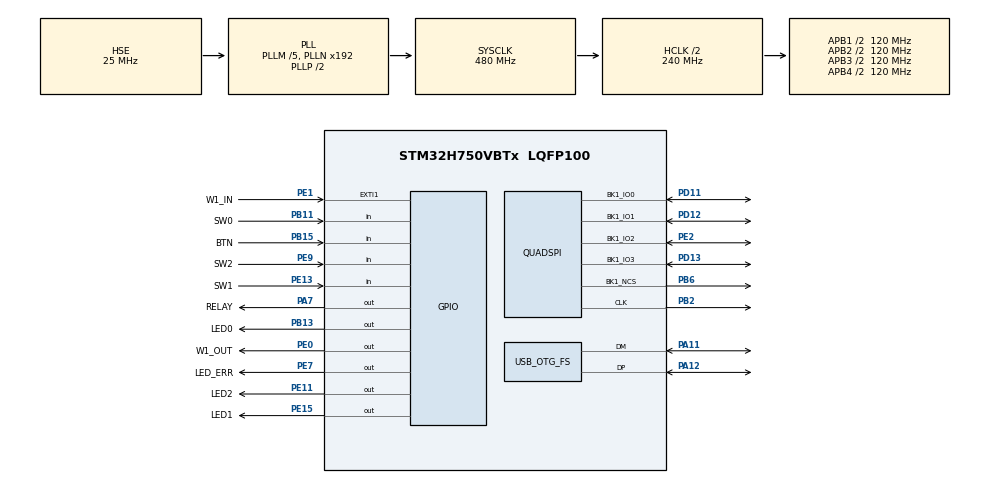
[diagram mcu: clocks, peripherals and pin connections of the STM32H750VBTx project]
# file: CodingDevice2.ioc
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Mcu.Family=STM32H7
Mcu.Name=STM32H750VBTx
Mcu.Package=LQFP100
NVIC.EXTI1_IRQn=true\:0\:0\:false\:false\:true\:true\:true\:true
NVIC.OTG_FS_IRQn=true\:2\:0\:true\:false\:true\:false\:true\:true
NVIC.PriorityGroup=NVIC_PRIORITYGROUP_4
PA11.Mode=Device_Only
PA11.Signal=USB_OTG_FS_DM
PA12.Mode=Device_Only
PA12.Signal=USB_OTG_FS_DP
PA13\ (JTMS/SWDIO).Mode=Serial_Wire
PA13\ (JTMS/SWDIO).Signal=DEBUG_JTMS-SWDIO
PA14\ (JTCK/SWCLK).Mode=Serial_Wire
PA14\ (JTCK/SWCLK).Signal=DEBUG_JTCK-SWCLK
PA7.GPIO_Label=RELAY
PA7.Signal=GPIO_Output
PB11.GPIO_Label=SW0
PB11.GPIO_PuPd=GPIO_PULLUP
PB11.Signal=GPIO_Input
PB13.GPIO_Label=LED0
PB13.Signal=GPIO_Output
PB15.GPIO_Label=BTN
PB15.GPIO_PuPd=GPIO_PULLUP
PB15.Signal=GPIO_Input
PB2.GPIO_Speed=GPIO_SPEED_FREQ_VERY_HIGH
PB2.Mode=Single Bank 1
PB2.Signal=QUADSPI_CLK
PB6.GPIO_Speed=GPIO_SPEED_FREQ_VERY_HIGH
PB6.Mode=Single Bank 1
PB6.Signal=QUADSPI_BK1_NCS
PC14-OSC32_IN\ (OSC32_IN).Mode=LSE-External-Oscillator
PC14-OSC32_IN\ (OSC32_IN).Signal=RCC_OSC32_IN
PC15-OSC32_OUT\ (OSC32_OUT).Mode=LSE-External-Oscillator
PC15-OSC32_OUT\ (OSC32_OUT).Signal=RCC_OSC32_OUT
PD11.GPIO_Speed=GPIO_SPEED_FREQ_VERY_HIGH
PD11.Mode=Single Bank 1
PD11.Signal=QUADSPI_BK1_IO0
PD12.GPIO_Speed=GPIO_SPEED_FREQ_VERY_HIGH
PD12.Mode=Single Bank 1
PD12.Signal=QUADSPI_BK1_IO1
PD13.GPIO_Speed=GPIO_SPEED_FREQ_VERY_HIGH
PD13.Mode=Single Bank 1
PD13.Signal=QUADSPI_BK1_IO3
PE0.GPIO_Label=W1_OUT
PE0.GPIO_ModeDefaultOutputPP=GPIO_MODE_OUTPUT_PP
PE0.GPIO_PuPd=GPIO_NOPULL
PE0.GPIO_Speed=GPIO_SPEED_FREQ_VERY_HIGH
PE0.PinState=GPIO_PIN_RESET
PE0.Signal=GPIO_Output
PE1.GPIO_Label=W1_IN
PE1.GPIO_ModeDefaultEXTI=GPIO_MODE_IT_RISING_FALLING
PE1.GPIO_PuPd=GPIO_PULLUP
PE1.Signal=GPXTI1
PE11.GPIO_Label=LED2
PE11.Signal=GPIO_Output
PE13.GPIO_Label=SW1
PE13.GPIO_PuPd=GPIO_PULLUP
PE13.Signal=GPIO_Input
PE15.GPIO_Label=LED1
PE15.Signal=GPIO_Output
PE2.GPIO_Speed=GPIO_SPEED_FREQ_VERY_HIGH
PE2.Mode=Single Bank 1
PE2.Signal=QUADSPI_BK1_IO2
PE7.GPIO_Label=LED_ERR
PE7.Signal=GPIO_Output
PE9.GPIO_Label=SW2
PE9.GPIO_PuPd=GPIO_PULLUP
PE9.Signal=GPIO_Input
PH0-OSC_IN\ (PH0).Mode=HSE-External-Oscillator
PH0-OSC_IN\ (PH0).Signal=RCC_OSC_IN
PH1-OSC_OUT\ (PH1).Mode=HSE-External-Oscillator
PH1-OSC_OUT\ (PH1).Signal=RCC_OSC_OUT
ProjectManager.HeapSize=0x200
ProjectManager.StackSize=0x400
ProjectManager.TargetToolchain=STM32CubeIDE
QUADSPI.ClockPrescaler=0
QUADSPI.FifoThreshold=4
QUADSPI.FlashSize=22
QUADSPI.SampleShifting=QSPI_SAMPLE_SHIFTING_HALFCYCLE
RCC.ADCFreq_Value=200000000
RCC.APB1Freq_Value=120000000
RCC.APB2Freq_Value=120000000
RCC.APB3Freq_Value=120000000
RCC.APB4Freq_Value=120000000
RCC.CortexFreq_Value=480000000
RCC.D1PPRE=RCC_APB3_DIV2
RCC.D2PPRE1=RCC_APB1_DIV2
RCC.D2PPRE2=RCC_APB2_DIV2
RCC.D3PPRE=RCC_APB4_DIV2
RCC.DIVM1=5
RCC.DIVM2=4
RCC.DIVN1=192
RCC.DIVN2=64
RCC.DIVR2=4
RCC.HCLKFreq_Value=240000000
RCC.HPRE=RCC_HCLK_DIV2
RCC.HSE_VALUE=25000000
RCC.PLL2FRACN=0
RCC.PLL3FRACN=0
RCC.PLLFRACN=0
RCC.PLLSourceVirtual=RCC_PLLSOURCE_HSE
RCC.QSPICLockSelection=RCC_QSPICLKSOURCE_PLL2
RCC.SYSCLKFreq_VALUE=480000000
RCC.SYSCLKSource=RCC_SYSCLKSOURCE_PLLCLK
RCC.USBCLockSelection=RCC_USBCLKSOURCE_HSI48
RCC.USBFreq_Value=48000000
TIM2.AutoReloadPreload=TIM_AUTORELOAD_PRELOAD_ENABLE
TIM2.Channel-Output\ Compare1\ No\ Output=TIM_CHANNEL_1
TIM2.Prescaler=239
USB_DEVICE.APP_RX_DATA_SIZE-CDC_FS=512
USB_DEVICE.APP_TX_DATA_SIZE-CDC_FS=512
USB_DEVICE.CLASS_NAME_FS=CDC
USB_DEVICE.MANUFACTURER_STRING-CDC_FS=KuruczKende
USB_DEVICE.PID_CDC_FS=0xCD00
USB_DEVICE.USBD_MAX_STR_DESC_SIZ-CDC_FS=64
USB_DEVICE.USBD_SELF_POWERED-CDC_FS=0
USB_DEVICE.VID-CDC_FS=0xCAFE
USB_DEVICE.VirtualMode-CDC_FS=Cdc
USB_DEVICE.VirtualModeFS=Cdc_FS
USB_OTG_FS.VirtualMode=Device_Only
VP_CRC_VS_CRC.Mode=CRC_Activate
VP_MEMORYMAP_VS_MEMORYMAP.Mode=CurAppReg
VP_TIM2_VS_ClockSourceINT.Mode=Internal
VP_TIM2_VS_no_output1.Mode=Output Compare1 No Output
VP_USB_DEVICE_VS_USB_DEVICE_CDC_FS.Mode=CDC_FS
board=custom

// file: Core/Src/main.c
/* USER CODE BEGIN Header */
/**
  ******************************************************************************
  * @file           : main.c
  * @brief          : Main program body
  ******************************************************************************
  * @attention
  *
  * Copyright (c) 2026 STMicroelectronics.
  * All rights reserved.
  *
  * This software is licensed under terms that can be found in the LICENSE file
  * in the root directory of this software component.
  * If no LICENSE file comes with this software, it is provided AS-IS.
  *
  ******************************************************************************
  */
/* USER CODE END Header */
#include "main.h"
#include "crc.h"
#include "memorymap.h"
#include "quadspi.h"
#include "tim.h"
#include "usb_device.h"
#include "gpio.h"

/* USER CODE BEGIN Includes */
#include "w25q_mem.h"
#include "OneWireCD.h"
#include "CDC.h"
#include "UI.h"

/* USER CODE END Includes */

/* USER CODE BEGIN PTD */
#define EXT_FLASH_ADDR_MASK          0x00FFFFFFUL
#define TIMEOUT           (1000)
/* USER CODE END PTD */

/* USER CODE BEGIN PV */
static bool aboErrorMap[8];
static uint8_t u8ErrorDispCnt;
static uint32_t u32LastShow;
/* USER CODE END PV */

void SystemClock_Config(void);

int main(void)
{

  /* MCU Configuration--------------------------------------------------------*/

  /* Reset of all peripherals, Initializes the Flash interface and the Systick. */
  HAL_Init();

  /* Configure the system clock */
  SystemClock_Config();

  /* Initialize all configured peripherals */
  MX_GPIO_Init();
  MX_USB_DEVICE_Init();
  MX_QUADSPI_Init();
  MX_TIM2_Init();
  MX_CRC_Init();
  /* USER CODE BEGIN 2 */
  for(uint8_t i=0;i<8;i++){
    aboErrorMap[i] = false;
  }

  if (W25Q_Init() != W25Q_OK)
    Error_Handler();

  if (HAL_QSPI_Abort(&hqspi) != HAL_OK)
    Error_Handler();

  HAL_TIM_OC_Start(&htim2,TIM_CHANNEL_1);

  vOWCD_Init();
  vCDC_Init();
  vUI_Init();

  /* USER CODE END 2 */

  /* Infinite loop */
  /* USER CODE BEGIN WHILE */
  u8ErrorDispCnt = 0;
  u32LastShow = 0;
  while (1)
  {
    vOWCD_Process();
    vCDC_Process();
    vUI_Process();
    if(HAL_GetTick() - u32LastShow > TIMEOUT){
      u32LastShow = HAL_GetTick();
      if (u8ErrorDispCnt == 8){
        // show actual
        uint8_t u8Actual;
        vOWCD_ReadActive(&u8Actual);
        vWriteLed(u8Actual);
        u8ErrorDispCnt = 0;
      }
      else{
        // show next error
        while ((aboErrorMap[u8ErrorDispCnt] == false) && (u8ErrorDispCnt < 8)){
          u8ErrorDispCnt++;
        }
        if (u8ErrorDispCnt < 8){
          vWriteLed(u8ErrorDispCnt);
          u8ErrorDispCnt++;
        }
      }
    }

    /* USER CODE END WHILE */

  }
}

void SystemClock_Config(void)
{
  RCC_OscInitTypeDef RCC_OscInitStruct = {0};
  RCC_ClkInitTypeDef RCC_ClkInitStruct = {0};

  /** Supply configuration update enable
  */
  HAL_PWREx_ConfigSupply(PWR_LDO_SUPPLY);

  /** Configure the main internal regulator output voltage
  */
  __HAL_PWR_VOLTAGESCALING_CONFIG(PWR_REGULATOR_VOLTAGE_SCALE0);

  while(!__HAL_PWR_GET_FLAG(PWR_FLAG_VOSRDY)) {}

  /** Initializes the RCC Oscillators according to the specified parameters
  * in the RCC_OscInitTypeDef structure.
  */
  RCC_OscInitStruct.OscillatorType = RCC_OSCILLATORTYPE_HSI48|RCC_OSCILLATORTYPE_HSE;
  RCC_OscInitStruct.HSEState = RCC_HSE_ON;
  RCC_OscInitStruct.HSI48State = RCC_HSI48_ON;
  RCC_OscInitStruct.PLL.PLLState = RCC_PLL_ON;
  RCC_OscInitStruct.PLL.PLLSource = RCC_PLLSOURCE_HSE;
  RCC_OscInitStruct.PLL.PLLM = 5;
  RCC_OscInitStruct.PLL.PLLN = 192;
  RCC_OscInitStruct.PLL.PLLP = 2;
  RCC_OscInitStruct.PLL.PLLQ = 2;
  RCC_OscInitStruct.PLL.PLLR = 2;
  RCC_OscInitStruct.PLL.PLLRGE = RCC_PLL1VCIRANGE_2;
  RCC_OscInitStruct.PLL.PLLVCOSEL = RCC_PLL1VCOWIDE;
  RCC_OscInitStruct.PLL.PLLFRACN = 0;
  if (HAL_RCC_OscConfig(&RCC_OscInitStruct) != HAL_OK)
  {
    Error_Handler();
  }

  /** Initializes the CPU, AHB and APB buses clocks
  */
  RCC_ClkInitStruct.ClockType = RCC_CLOCKTYPE_HCLK|RCC_CLOCKTYPE_SYSCLK
                              |RCC_CLOCKTYPE_PCLK1|RCC_CLOCKTYPE_PCLK2
                              |RCC_CLOCKTYPE_D3PCLK1|RCC_CLOCKTYPE_D1PCLK1;
  RCC_ClkInitStruct.SYSCLKSource = RCC_SYSCLKSOURCE_PLLCLK;
  RCC_ClkInitStruct.SYSCLKDivider = RCC_SYSCLK_DIV1;
  RCC_ClkInitStruct.AHBCLKDivider = RCC_HCLK_DIV2;
  RCC_ClkInitStruct.APB3CLKDivider = RCC_APB3_DIV2;
  RCC_ClkInitStruct.APB1CLKDivider = RCC_APB1_DIV2;
  RCC_ClkInitStruct.APB2CLKDivider = RCC_APB2_DIV2;
  RCC_ClkInitStruct.APB4CLKDivider = RCC_APB4_DIV2;

  if (HAL_RCC_ClockConfig(&RCC_ClkInitStruct, FLASH_LATENCY_4) != HAL_OK)
  {
    Error_Handler();
  }
}

/* USER CODE BEGIN 4 */
void vM_SetError(E_ERROR_CODES eError){
  aboErrorMap[eError] = true;
}

void vM_ClearError(E_ERROR_CODES eError){
  aboErrorMap[eError] = false;
}

/* USER CODE END 4 */

void Error_Handler(void)
{
  __disable_irq();
  while (1)
  {
  }
}
